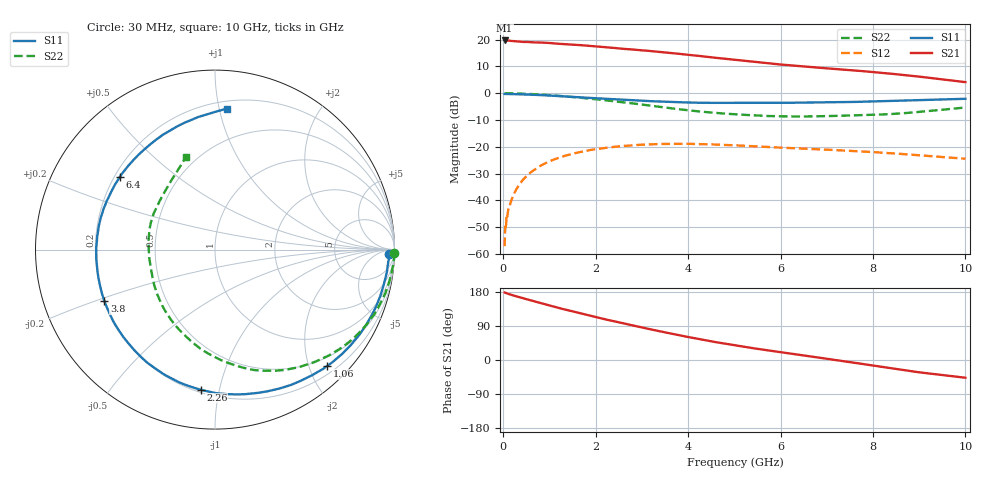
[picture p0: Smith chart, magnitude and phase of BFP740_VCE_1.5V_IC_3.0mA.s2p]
! Infineon Technologies  Discrete & RF Semiconductors
! BFP740
! VCE =  1.5 V,  IC =  3.0 mA
! Common Emitter S-Parameters:  Jan 2016
# GHz  S  MA  R  50
!  f  S11  S21  S12  S22
! GHz  MAG  ANG  MAG  ANG  MAG  ANG  MAG  ANG
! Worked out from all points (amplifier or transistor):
!   229 points, 30 MHz to 10 GHz, reference 50 ohm
!   highest |S21| = 19.7 dB at 30 MHz (marker M1)
!   |S21| within 3 dB of that: start of sweep to 2.515 GHz
!   unconditionally stable (mu >= 1): 8.281 GHz to end of sweep
!   at 280 MHz: K = 0.06, MSG = 27.7 dB, |S12| = -36.0 dB
!   at 1.78 GHz: K = 0.19, MSG = 19.7 dB, |S12| = -21.6 dB
!   at 10 GHz: K = 1.26, MAG = 11.2 dB, |S12| = -24.4 dB
!   S11 on the Smith chart (normalised r, x): 30 MHz: 40, -32; 1.06 GHz: 0.34, -2.31; 2.26 GHz: 0.22, -0.88; 3.8 GHz: 0.20, -0.21; 6.4 GHz: 0.22, +0.32; 10 GHz: 0.25, +1.05
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0.03  0.97 -1.4  9.66 178.1  0.0014 71.9  0.9986 -1.0
0.04  0.9699 -1.8  9.521 177.6  0.0027 94.2  0.9989 -1.3
0.06  0.9702 -2.7  9.642 176.7  0.003 80.9  0.9983 -1.9
0.07  0.9695 -3.3  9.605 176.3  0.005 79.8  0.9982 -2.3
0.11  0.9665 -5.0  9.626 174.5  0.0069 87.0  0.9972 -3.6
0.26  0.9605 -11.6  9.33 168.8  0.0148 83.0  0.9903 -8.4
0.8  0.9249 -35.1  8.852 150.6  0.044 66.1  0.9465 -25.2
1.06  0.9003 -46.1  8.558 142.1  0.0563 58.4  0.9137 -33.1
1.38  0.867 -59.6  8.179 131.8  0.0698 49.5  0.8684 -42.4
1.7  0.8337 -73.1  7.87 122.1  0.0811 41.3  0.8199 -51.4
2.26  0.7843 -95.9  7.19 105.9  0.0967 27.7  0.7319 -67.2
2.8  0.7404 -117.2  6.553 91.2  0.1068 16.0  0.645 -81.7
3.4  0.6992 -140.4  5.882 75.5  0.1131 3.8  0.557 -98.6
3.8  0.6797 -155.2  5.446 65.5  0.1139 -3.9  0.5028 -110.3
4.4  0.6633 -175.3  4.794 51.5  0.1117 -14.0  0.4446 -127.5
5.1  0.66 166.0  4.123 36.9  0.1055 -23.6  0.4003 -145.3
5.8  0.661 152.2  3.57 24.1  0.0987 -31.0  0.3745 -161.2
6.4  0.6673 142.5  3.212 13.8  0.0935 -36.3  0.369 -175.4
6.8  0.6723 135.6  3.008 6.8  0.0903 -39.7  0.3712 175.4
8.4  0.7185 106.9  2.31 -21.8  0.0758 -50.4  0.41 138.8
9  0.7451 97.0  2.042 -32.5  0.0697 -53.4  0.4484 124.3
10  0.7878 85.3  1.612 -46.8  0.0601 -53.6  0.5419 107.4
